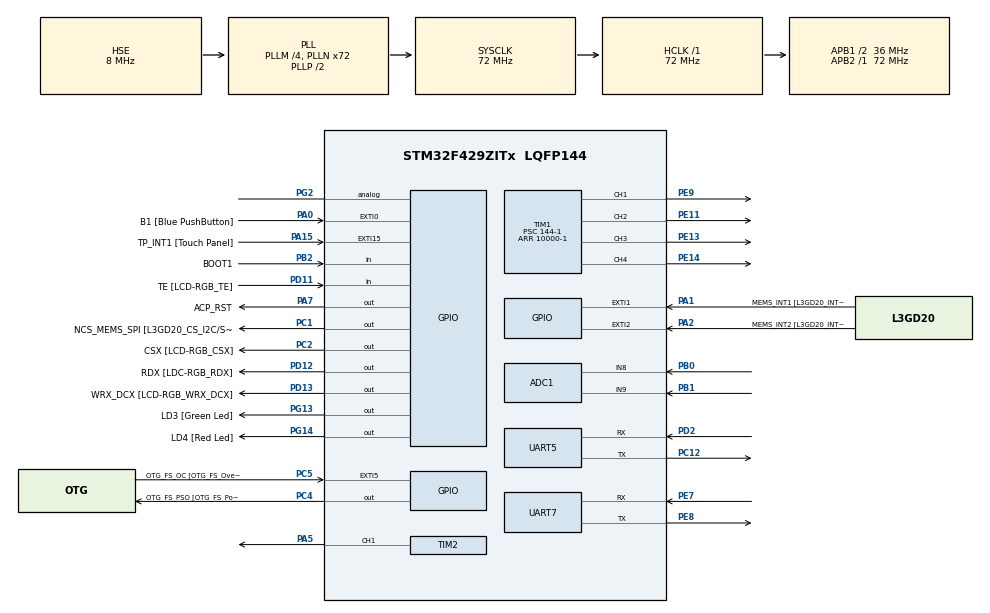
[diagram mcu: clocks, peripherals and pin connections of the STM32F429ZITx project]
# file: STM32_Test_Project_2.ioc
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ADC1.Channel-0\#ChannelRegularConversion=ADC_CHANNEL_8
ADC1.Channel-1\#ChannelRegularConversion=ADC_CHANNEL_9
ADC1.ContinuousConvMode=ENABLE
ADC1.DMAContinuousRequests=ENABLE
ADC1.EOCSelection=ADC_EOC_SEQ_CONV
ADC1.NbrOfConversion=2
ADC1.NbrOfConversionFlag=1
ADC1.Rank-0\#ChannelRegularConversion=1
ADC1.Rank-1\#ChannelRegularConversion=2
ADC1.SamplingTime-0\#ChannelRegularConversion=ADC_SAMPLETIME_144CYCLES
ADC1.SamplingTime-1\#ChannelRegularConversion=ADC_SAMPLETIME_144CYCLES
ADC1.ScanConvMode=ENABLE
ADC1.master=1
Dma.ADC1.0.Direction=DMA_PERIPH_TO_MEMORY
Dma.ADC1.0.FIFOMode=DMA_FIFOMODE_DISABLE
Dma.ADC1.0.Instance=DMA2_Stream0
Dma.ADC1.0.MemDataAlignment=DMA_MDATAALIGN_HALFWORD
Dma.ADC1.0.MemInc=DMA_MINC_ENABLE
Dma.ADC1.0.Mode=DMA_CIRCULAR
Dma.ADC1.0.PeriphDataAlignment=DMA_PDATAALIGN_HALFWORD
Dma.ADC1.0.PeriphInc=DMA_PINC_DISABLE
Dma.ADC1.0.Priority=DMA_PRIORITY_LOW
Dma.Request0=ADC1
Mcu.Family=STM32F4
Mcu.Name=STM32F429ZITx
Mcu.Package=LQFP144
NVIC.DMA2D_IRQn=true\:5\:0\:true\:false\:true\:true\:true\:true
NVIC.DMA2_Stream0_IRQn=true\:0\:0\:false\:false\:true\:false\:true\:true
NVIC.PriorityGroup=NVIC_PRIORITYGROUP_4
NVIC.TIM1_UP_TIM10_IRQn=true\:0\:0\:false\:false\:true\:true\:true\:true
NVIC.TIM2_IRQn=true\:0\:0\:false\:false\:true\:true\:true\:true
NVIC.TIM6_DAC_IRQn=true\:15\:0\:false\:false\:true\:false\:true\:true
NVIC.TimeBase=TIM6_DAC_IRQn
NVIC.TimeBaseIP=TIM6
NVIC.UART5_IRQn=true\:0\:0\:false\:false\:true\:true\:true\:true
NVIC.UART7_IRQn=true\:0\:0\:false\:false\:true\:true\:true\:true
PA0/WKUP.GPIO_Label=B1 [Blue PushButton]
PA0/WKUP.GPIO_ModeDefaultEXTI=GPIO_MODE_EVT_RISING
PA0/WKUP.GPIO_PuPd=GPIO_NOPULL
PA0/WKUP.Signal=GPXTI0
PA1.GPIO_Label=MEMS_INT1 [L3GD20_INT1]
PA1.GPIO_ModeDefaultEXTI=GPIO_MODE_EVT_RISING
PA1.GPIO_PuPd=GPIO_NOPULL
PA1.Signal=GPXTI1
PA10.GPIO_Label=STLINK_TX [STM32F103CBT6_PA2]
PA10.Signal=USART1_RX
PA11.GPIO_Label=R4
PA11.GPIO_Mode=GPIO_MODE_AF_PP
PA11.GPIO_PuPd=GPIO_NOPULL
PA11.GPIO_Speed=GPIO_SPEED_FREQ_LOW
PA11.Signal=LTDC_R4
PA12.GPIO_Label=R5
PA12.GPIO_Mode=GPIO_MODE_AF_PP
PA12.GPIO_PuPd=GPIO_NOPULL
PA12.GPIO_Speed=GPIO_SPEED_FREQ_LOW
PA12.Signal=LTDC_R5
PA13.GPIO_Label=SWDIO
PA13.Mode=Serial_Wire
PA13.Signal=SYS_JTMS-SWDIO
PA14.GPIO_Label=SWCLK
PA14.Mode=Serial_Wire
PA14.Signal=SYS_JTCK-SWCLK
PA15.GPIO_Label=TP_INT1 [Touch Panel]
PA15.GPIO_ModeDefaultEXTI=GPIO_MODE_EVT_RISING
PA15.GPIO_PuPd=GPIO_NOPULL
PA15.Signal=GPXTI15
PA2.GPIO_Label=MEMS_INT2 [L3GD20_INT2]
PA2.GPIO_ModeDefaultEXTI=GPIO_MODE_EVT_RISING
PA2.GPIO_PuPd=GPIO_NOPULL
PA2.Signal=GPXTI2
PA3.GPIO_Label=B5
PA3.GPIO_Mode=GPIO_MODE_AF_PP
PA3.GPIO_PuPd=GPIO_NOPULL
PA3.GPIO_Speed=GPIO_SPEED_FREQ_LOW
PA3.Signal=LTDC_B5
PA4.GPIO_Label=VSYNC
PA4.GPIO_Mode=GPIO_MODE_AF_PP
PA4.GPIO_PuPd=GPIO_NOPULL
PA4.GPIO_Speed=GPIO_SPEED_FREQ_LOW
PA4.Signal=LTDC_VSYNC
PA5.Signal=S_TIM2_CH1_ETR
PA6.GPIO_Label=G2
PA6.GPIO_Mode=GPIO_MODE_AF_PP
PA6.GPIO_PuPd=GPIO_NOPULL
PA6.GPIO_Speed=GPIO_SPEED_FREQ_LOW
PA6.Signal=LTDC_G2
PA7.GPIO_Label=ACP_RST
PA7.GPIO_Mode=GPIO_MODE_OUTPUT_PP
PA7.GPIO_PuPd=GPIO_NOPULL
PA7.GPIO_Speed=GPIO_SPEED_FREQ_LOW
PA7.Signal=GPIO_Output
PA8.GPIO_Label=I2C3_SCL [ACP/RF_SCL]
PA8.GPIO_Mode=GPIO_MODE_AF_OD
PA8.GPIO_Pu=GPIO_PULLUP
PA8.GPIO_PuPd=GPIO_NOPULL
PA8.GPIO_Speed=GPIO_SPEED_FREQ_LOW
PA8.Signal=I2C3_SCL
PA9.GPIO_Label=STLINK_RX [STM32F103CBT6_PA3]
PA9.Signal=USART1_TX
PB0.Signal=ADCx_IN8
PB1.Signal=ADCx_IN9
PB10.GPIO_Label=G4
PB10.GPIO_Mode=GPIO_MODE_AF_PP
PB10.GPIO_PuPd=GPIO_NOPULL
PB10.GPIO_Speed=GPIO_SPEED_FREQ_LOW
PB10.Signal=LTDC_G4
PB11.GPIO_Label=G5
PB11.GPIO_Mode=GPIO_MODE_AF_PP
PB11.GPIO_PuPd=GPIO_NOPULL
PB11.GPIO_Speed=GPIO_SPEED_FREQ_LOW
PB11.Signal=LTDC_G5
PB12.GPIO_Label=OTG_HS_ID
PB12.GPIO_Mode=GPIO_MODE_AF_PP
PB12.GPIO_PuPd=GPIO_NOPULL
PB12.GPIO_Speed=GPIO_SPEED_FREQ_LOW
PB12.Signal=USB_OTG_HS_ID
PB13.GPIO_Label=VBUS_HS
PB13.GPIO_Mode=GPIO_MODE_INPUT
PB13.GPIO_PuPd=GPIO_NOPULL
PB13.Signal=USB_OTG_HS_VBUS
PB14.GPIO_Label=OTG_HS_DM
PB14.GPIO_Mode=GPIO_MODE_AF_PP
PB14.GPIO_PuPd=GPIO_NOPULL
PB14.GPIO_Speed=GPIO_SPEED_FREQ_LOW
PB14.Signal=USB_OTG_HS_DM
PB15.GPIO_Label=OTG_HS_DP
PB15.GPIO_Mode=GPIO_MODE_AF_PP
PB15.GPIO_PuPd=GPIO_NOPULL
PB15.GPIO_Speed=GPIO_SPEED_FREQ_LOW
PB15.Signal=USB_OTG_HS_DP
PB2/BOOT1.GPIO_Label=BOOT1
PB2/BOOT1.GPIO_Mode=GPIO_MODE_INPUT
PB2/BOOT1.GPIO_PuPd=GPIO_NOPULL
PB2/BOOT1.Signal=GPIO_Input
PB5.GPIO_Label=SDCKE1
PB5.GPIO_Mode=GPIO_MODE_AF_PP
PB5.GPIO_PuPd=GPIO_NOPULL
PB5.GPIO_Speed=GPIO_SPEED_FREQ_VERY_HIGH
PB5.Signal=FMC_SDCKE1
PB6.GPIO_Label=SDNE1 [SDRAM_CS]
PB6.GPIO_Mode=GPIO_MODE_AF_PP
PB6.GPIO_PuPd=GPIO_NOPULL
PB6.GPIO_Speed=GPIO_SPEED_FREQ_VERY_HIGH
PB6.Signal=FMC_SDNE1
PB8.GPIO_Label=B6
PB8.GPIO_Mode=GPIO_MODE_AF_PP
PB8.GPIO_PuPd=GPIO_NOPULL
PB8.GPIO_Speed=GPIO_SPEED_FREQ_LOW
PB8.Signal=LTDC_B6
PB9.GPIO_Label=B7
PB9.GPIO_Mode=GPIO_MODE_AF_PP
PB9.GPIO_PuPd=GPIO_NOPULL
PB9.GPIO_Speed=GPIO_SPEED_FREQ_LOW
PB9.Signal=LTDC_B7
PC0.GPIO_Label=SDNWE
PC0.GPIO_Mode=GPIO_MODE_AF_PP
PC0.GPIO_PuPd=GPIO_NOPULL
PC0.GPIO_Speed=GPIO_SPEED_FREQ_VERY_HIGH
PC0.Signal=FMC_SDNWE
PC1.GPIO_Label=NCS_MEMS_SPI [L3GD20_CS_I2C/SPI]
PC1.GPIO_Mode=GPIO_MODE_OUTPUT_PP
PC1.GPIO_PuPd=GPIO_NOPULL
PC1.GPIO_Speed=GPIO_SPEED_FREQ_LOW
PC1.Signal=GPIO_Output
PC10.GPIO_Label=R2
PC10.GPIO_Mode=GPIO_MODE_AF_PP
PC10.GPIO_PuPd=GPIO_NOPULL
PC10.GPIO_Speed=GPIO_SPEED_FREQ_LOW
PC10.Signal=LTDC_R2
PC12.Mode=Asynchronous
PC12.Signal=UART5_TX
PC14/OSC32_IN.GPIO_Label=PC14-OSC32_IN
PC14/OSC32_IN.Signal=RCC_OSC32_IN
PC15/OSC32_OUT.GPIO_Label=PC15-OSC32_OUT
PC15/OSC32_OUT.Signal=RCC_OSC32_OUT
PC2.GPIO_Label=CSX [LCD-RGB_CSX]
PC2.GPIO_Mode=GPIO_MODE_OUTPUT_PP
PC2.GPIO_PuPd=GPIO_NOPULL
PC2.GPIO_Speed=GPIO_SPEED_FREQ_LOW
PC2.Signal=GPIO_Output
PC4.GPIO_Label=OTG_FS_PSO [OTG_FS_PowerSwitchOn]
PC4.GPIO_Mode=GPIO_MODE_OUTPUT_PP
PC4.GPIO_PuPd=GPIO_NOPULL
PC4.GPIO_Speed=GPIO_SPEED_FREQ_LOW
PC4.Signal=GPIO_Output
PC5.GPIO_Label=OTG_FS_OC [OTG_FS_OverCurrent]
PC5.GPIO_ModeDefaultEXTI=GPIO_MODE_EVT_RISING
PC5.Signal=GPXTI5
PC6.GPIO_Label=HSYNC
PC6.GPIO_Mode=GPIO_MODE_AF_PP
PC6.GPIO_PuPd=GPIO_NOPULL
PC6.GPIO_Speed=GPIO_SPEED_FREQ_LOW
PC6.Signal=LTDC_HSYNC
PC7.GPIO_Label=G6
PC7.GPIO_Mode=GPIO_MODE_AF_PP
PC7.GPIO_PuPd=GPIO_NOPULL
PC7.GPIO_Speed=GPIO_SPEED_FREQ_LOW
PC7.Signal=LTDC_G6
PC9.GPIO_Label=I2C3_SDA [ACP/RF_SDA]
PC9.GPIO_Mode=GPIO_MODE_AF_OD
PC9.GPIO_Pu=GPIO_PULLUP
PC9.GPIO_PuPd=GPIO_NOPULL
PC9.GPIO_Speed=GPIO_SPEED_FREQ_LOW
PC9.Signal=I2C3_SDA
PD0.GPIO_Label=D2
PD0.GPIO_Mode=GPIO_MODE_AF_PP
PD0.GPIO_PuPd=GPIO_NOPULL
PD0.GPIO_Speed=GPIO_SPEED_FREQ_VERY_HIGH
PD0.Signal=FMC_D2_DA2
PD1.GPIO_Label=D3
PD1.GPIO_Mode=GPIO_MODE_AF_PP
PD1.GPIO_PuPd=GPIO_NOPULL
PD1.GPIO_Speed=GPIO_SPEED_FREQ_VERY_HIGH
PD1.Signal=FMC_D3_DA3
PD10.GPIO_Label=D15
PD10.GPIO_Mode=GPIO_MODE_AF_PP
PD10.GPIO_PuPd=GPIO_NOPULL
PD10.GPIO_Speed=GPIO_SPEED_FREQ_VERY_HIGH
PD10.Signal=FMC_D15_DA15
PD11.GPIO_Label=TE [LCD-RGB_TE]
PD11.GPIO_Mode=GPIO_MODE_INPUT
PD11.GPIO_PuPd=GPIO_NOPULL
PD11.Signal=GPIO_Input
PD12.GPIO_Label=RDX [LDC-RGB_RDX]
PD12.GPIO_Mode=GPIO_MODE_OUTPUT_PP
PD12.GPIO_PuPd=GPIO_NOPULL
PD12.GPIO_Speed=GPIO_SPEED_FREQ_LOW
PD12.Signal=GPIO_Output
PD13.GPIO_Label=WRX_DCX [LCD-RGB_WRX_DCX]
PD13.GPIO_Mode=GPIO_MODE_OUTPUT_PP
PD13.GPIO_PuPd=GPIO_NOPULL
PD13.GPIO_Speed=GPIO_SPEED_FREQ_LOW
PD13.Signal=GPIO_Output
PD14.GPIO_Label=D0
PD14.GPIO_Mode=GPIO_MODE_AF_PP
PD14.GPIO_PuPd=GPIO_NOPULL
PD14.GPIO_Speed=GPIO_SPEED_FREQ_VERY_HIGH
PD14.Signal=FMC_D0_DA0
PD15.GPIO_Label=D1
PD15.GPIO_Mode=GPIO_MODE_AF_PP
PD15.GPIO_PuPd=GPIO_NOPULL
PD15.GPIO_Speed=GPIO_SPEED_FREQ_VERY_HIGH
PD15.Signal=FMC_D1_DA1
PD2.Mode=Asynchronous
PD2.Signal=UART5_RX
PD3.GPIO_Label=G7
PD3.GPIO_Mode=GPIO_MODE_AF_PP
PD3.GPIO_PuPd=GPIO_NOPULL
PD3.GPIO_Speed=GPIO_SPEED_FREQ_LOW
PD3.Signal=LTDC_G7
PD6.GPIO_Label=B2
PD6.GPIO_Mode=GPIO_MODE_AF_PP
PD6.GPIO_PuPd=GPIO_NOPULL
PD6.GPIO_Speed=GPIO_SPEED_FREQ_LOW
PD6.Signal=LTDC_B2
PD8.GPIO_Label=D13
PD8.GPIO_Mode=GPIO_MODE_AF_PP
PD8.GPIO_PuPd=GPIO_NOPULL
PD8.GPIO_Speed=GPIO_SPEED_FREQ_VERY_HIGH
PD8.Signal=FMC_D13_DA13
PD9.GPIO_Label=D14
PD9.GPIO_Mode=GPIO_MODE_AF_PP
PD9.GPIO_PuPd=GPIO_NOPULL
PD9.GPIO_Speed=GPIO_SPEED_FREQ_VERY_HIGH
PD9.Signal=FMC_D14_DA14
PE0.GPIO_Label=NBL0 [SDRAM_LDQM]
PE0.GPIO_Mode=GPIO_MODE_AF_PP
PE0.GPIO_PuPd=GPIO_NOPULL
PE0.GPIO_Speed=GPIO_SPEED_FREQ_VERY_HIGH
PE0.Signal=FMC_NBL0
PE1.GPIO_Label=NBL1 [SDRAM_UDQM]
PE1.GPIO_Mode=GPIO_MODE_AF_PP
PE1.GPIO_PuPd=GPIO_NOPULL
PE1.GPIO_Speed=GPIO_SPEED_FREQ_VERY_HIGH
PE1.Signal=FMC_NBL1
PE10.GPIO_Label=D7
PE10.GPIO_Mode=GPIO_MODE_AF_PP
PE10.GPIO_PuPd=GPIO_NOPULL
PE10.GPIO_Speed=GPIO_SPEED_FREQ_VERY_HIGH
PE10.Signal=FMC_D7_DA7
PE11.Signal=S_TIM1_CH2
PE12.GPIO_Label=D9
PE12.GPIO_Mode=GPIO_MODE_AF_PP
PE12.GPIO_PuPd=GPIO_NOPULL
PE12.GPIO_Speed=GPIO_SPEED_FREQ_VERY_HIGH
PE12.Signal=FMC_D9_DA9
PE13.Signal=S_TIM1_CH3
PE14.Signal=S_TIM1_CH4
PE15.GPIO_Label=D12
PE15.GPIO_Mode=GPIO_MODE_AF_PP
PE15.GPIO_PuPd=GPIO_NOPULL
PE15.GPIO_Speed=GPIO_SPEED_FREQ_VERY_HIGH
PE15.Signal=FMC_D12_DA12
PE7.Mode=Asynchronous
PE7.Signal=UART7_RX
PE8.Mode=Asynchronous
PE8.Signal=UART7_TX
PE9.Signal=S_TIM1_CH1
PF0.GPIO_Label=A0
PF0.GPIO_Mode=GPIO_MODE_AF_PP
PF0.GPIO_PuPd=GPIO_NOPULL
PF0.GPIO_Speed=GPIO_SPEED_FREQ_VERY_HIGH
PF0.Signal=FMC_A0
PF1.GPIO_Label=A1
PF1.GPIO_Mode=GPIO_MODE_AF_PP
PF1.GPIO_PuPd=GPIO_NOPULL
PF1.GPIO_Speed=GPIO_SPEED_FREQ_VERY_HIGH
PF1.Signal=FMC_A1
PF10.GPIO_Label=ENABLE [LCD-RGB_ENABLE]
PF10.GPIO_Mode=GPIO_MODE_AF_PP
PF10.GPIO_PuPd=GPIO_NOPULL
PF10.GPIO_Speed=GPIO_SPEED_FREQ_LOW
PF10.Signal=LTDC_DE
PF11.GPIO_Label=SDNRAS
PF11.GPIO_Mode=GPIO_MODE_AF_PP
PF11.GPIO_PuPd=GPIO_NOPULL
PF11.GPIO_Speed=GPIO_SPEED_FREQ_VERY_HIGH
PF11.Signal=FMC_SDNRAS
PF12.GPIO_Label=A6
PF12.GPIO_Mode=GPIO_MODE_AF_PP
PF12.GPIO_PuPd=GPIO_NOPULL
PF12.GPIO_Speed=GPIO_SPEED_FREQ_VERY_HIGH
PF12.Signal=FMC_A6
PF13.GPIO_Label=A7
PF13.GPIO_Mode=GPIO_MODE_AF_PP
PF13.GPIO_PuPd=GPIO_NOPULL
PF13.GPIO_Speed=GPIO_SPEED_FREQ_VERY_HIGH
PF13.Signal=FMC_A7
PF14.GPIO_Label=A8
PF14.GPIO_Mode=GPIO_MODE_AF_PP
PF14.GPIO_PuPd=GPIO_NOPULL
PF14.GPIO_Speed=GPIO_SPEED_FREQ_VERY_HIGH
PF14.Signal=FMC_A8
PF15.GPIO_Label=A9
PF15.GPIO_Mode=GPIO_MODE_AF_PP
PF15.GPIO_PuPd=GPIO_NOPULL
PF15.GPIO_Speed=GPIO_SPEED_FREQ_VERY_HIGH
PF15.Signal=FMC_A9
PF2.GPIO_Label=A2
PF2.GPIO_Mode=GPIO_MODE_AF_PP
PF2.GPIO_PuPd=GPIO_NOPULL
PF2.GPIO_Speed=GPIO_SPEED_FREQ_VERY_HIGH
PF2.Signal=FMC_A2
PF3.GPIO_Label=A3
PF3.GPIO_Mode=GPIO_MODE_AF_PP
PF3.GPIO_PuPd=GPIO_NOPULL
PF3.GPIO_Speed=GPIO_SPEED_FREQ_VERY_HIGH
PF3.Signal=FMC_A3
PF4.GPIO_Label=A4
PF4.GPIO_Mode=GPIO_MODE_AF_PP
PF4.GPIO_PuPd=GPIO_NOPULL
PF4.GPIO_Speed=GPIO_SPEED_FREQ_VERY_HIGH
PF4.Signal=FMC_A4
PF5.GPIO_Label=A5
PF5.GPIO_Mode=GPIO_MODE_AF_PP
PF5.GPIO_PuPd=GPIO_NOPULL
PF5.GPIO_Speed=GPIO_SPEED_FREQ_VERY_HIGH
PF5.Signal=FMC_A5
PF7.GPIO_Label=SPI5_SCK [L3GD20_SCL/SPC]
PF7.GPIO_Mode=GPIO_MODE_AF_PP
PF7.GPIO_PuPd=GPIO_NOPULL
PF7.GPIO_Speed=GPIO_SPEED_FREQ_LOW
PF7.Signal=SPI5_SCK
PF8.GPIO_Label=SPI5_MISO [L3GD20_SDO]
PF8.GPIO_Mode=GPIO_MODE_AF_PP
PF8.GPIO_PuPd=GPIO_NOPULL
PF8.GPIO_Speed=GPIO_SPEED_FREQ_LOW
PF8.Signal=SPI5_MISO
PF9.GPIO_Label=SPI5_MOSI [L3GD20_SDA/SDI/SDO]
PF9.GPIO_Mode=GPIO_MODE_AF_PP
PF9.GPIO_PuPd=GPIO_NOPULL
PF9.GPIO_Speed=GPIO_SPEED_FREQ_LOW
PF9.Signal=SPI5_MOSI
PG0.GPIO_Label=A10
PG0.GPIO_Mode=GPIO_MODE_AF_PP
PG0.GPIO_PuPd=GPIO_NOPULL
PG0.GPIO_Speed=GPIO_SPEED_FREQ_VERY_HIGH
PG0.Signal=FMC_A10
PG1.GPIO_Label=A11
PG1.GPIO_Mode=GPIO_MODE_AF_PP
PG1.GPIO_PuPd=GPIO_NOPULL
PG1.GPIO_Speed=GPIO_SPEED_FREQ_VERY_HIGH
PG1.Signal=FMC_A11
PG10.GPIO_Label=G3
PG10.GPIO_Mode=GPIO_MODE_AF_PP
PG10.GPIO_PuPd=GPIO_NOPULL
PG10.GPIO_Speed=GPIO_SPEED_FREQ_LOW
PG10.Signal=LTDC_G3
PG11.GPIO_Label=B3
PG11.GPIO_Mode=GPIO_MODE_AF_PP
PG11.GPIO_PuPd=GPIO_NOPULL
PG11.GPIO_Speed=GPIO_SPEED_FREQ_LOW
PG11.Signal=LTDC_B3
PG12.GPIO_Label=B4
PG12.GPIO_Mode=GPIO_MODE_AF_PP
PG12.GPIO_PuPd=GPIO_NOPULL
PG12.GPIO_Speed=GPIO_SPEED_FREQ_LOW
PG12.Signal=LTDC_B4
PG13.GPIO_Label=LD3 [Green Led]
PG13.GPIO_Mode=GPIO_MODE_OUTPUT_PP
PG13.GPIO_PuPd=GPIO_NOPULL
PG13.GPIO_Speed=GPIO_SPEED_FREQ_LOW
PG13.Signal=GPIO_Output
PG14.GPIO_Label=LD4 [Red Led]
PG14.GPIO_Mode=GPIO_MODE_OUTPUT_PP
PG14.GPIO_PuPd=GPIO_NOPULL
PG14.GPIO_Speed=GPIO_SPEED_FREQ_LOW
PG14.Signal=GPIO_Output
PG15.GPIO_Label=SDNCAS
PG15.GPIO_Mode=GPIO_MODE_AF_PP
PG15.GPIO_PuPd=GPIO_NOPULL
PG15.GPIO_Speed=GPIO_SPEED_FREQ_VERY_HIGH
PG15.Signal=FMC_SDNCAS
PG2.Signal=GPIO_Analog
PG4.GPIO_Label=BA0
PG4.GPIO_Mode=GPIO_MODE_AF_PP
PG4.GPIO_PuPd=GPIO_NOPULL
PG4.GPIO_Speed=GPIO_SPEED_FREQ_VERY_HIGH
PG4.Signal=FMC_A14_BA0
PG5.GPIO_Label=BA1
PG5.GPIO_Mode=GPIO_MODE_AF_PP
PG5.GPIO_PuPd=GPIO_NOPULL
PG5.GPIO_Speed=GPIO_SPEED_FREQ_VERY_HIGH
PG5.Signal=FMC_A15_BA1
PG6.GPIO_Label=R7
PG6.GPIO_Mode=GPIO_MODE_AF_PP
PG6.GPIO_PuPd=GPIO_NOPULL
PG6.GPIO_Speed=GPIO_SPEED_FREQ_LOW
PG6.Signal=LTDC_R7
PG7.GPIO_Label=DOTCLK [LCT-RGB_DOTCLK]
PG7.GPIO_Mode=GPIO_MODE_AF_PP
PG7.GPIO_PuPd=GPIO_NOPULL
PG7.GPIO_Speed=GPIO_SPEED_FREQ_LOW
PG7.Signal=LTDC_CLK
PG8.GPIO_Label=SDCLK
PG8.GPIO_Mode=GPIO_MODE_AF_PP
PG8.GPIO_PuPd=GPIO_NOPULL
PG8.GPIO_Speed=GPIO_SPEED_FREQ_VERY_HIGH
PG8.Signal=FMC_SDCLK
PH0/OSC_IN.GPIO_Label=PH0-OSC_IN
PH0/OSC_IN.Mode=HSE-External-Oscillator
PH0/OSC_IN.Signal=RCC_OSC_IN
PH1/OSC_OUT.GPIO_Label=PH1-OSC_OUT
PH1/OSC_OUT.Mode=HSE-External-Oscillator
PH1/OSC_OUT.Signal=RCC_OSC_OUT
ProjectManager.HeapSize=0x200
ProjectManager.StackSize=0x400
ProjectManager.TargetToolchain=MDK-ARM V5.32
RCC.48MHZClocksFreq_Value=48000000
RCC.AHBFreq_Value=72000000
RCC.APB1CLKDivider=RCC_HCLK_DIV2
RCC.APB1Freq_Value=36000000
RCC.APB1TimFreq_Value=72000000
RCC.APB2Freq_Value=72000000
RCC.APB2TimFreq_Value=72000000
RCC.CortexFreq_Value=72000000
RCC.HCLKFreq_Value=72000000
RCC.HSE_VALUE=8000000
RCC.HSI_VALUE=16000000
RCC.LSE_VALUE=32768
RCC.PLLM=4
RCC.PLLN=72
RCC.PLLQ=3
RCC.PLLSAIN=50
RCC.PLLSourceVirtual=RCC_PLLSOURCE_HSE
RCC.SYSCLKFreq_VALUE=72000000
RCC.SYSCLKSource=RCC_SYSCLKSOURCE_PLLCLK
RCC.VCOOutputFreq_Value=144000000
SH.ADCx_IN8.0=ADC1_IN8,IN8
SH.ADCx_IN9.0=ADC1_IN9,IN9
SH.FMC_A0.0=FMC_A0
SH.FMC_A1.0=FMC_A1
SH.FMC_A10.0=FMC_A10
SH.FMC_A11.0=FMC_A11
SH.FMC_A14_BA0.0=FMC_BA0
SH.FMC_A15_BA1.0=FMC_BA1
SH.FMC_A2.0=FMC_A2
SH.FMC_A3.0=FMC_A3
SH.FMC_A4.0=FMC_A4
SH.FMC_A5.0=FMC_A5
SH.FMC_A6.0=FMC_A6
SH.FMC_A7.0=FMC_A7
SH.FMC_A8.0=FMC_A8
SH.FMC_A9.0=FMC_A9
SH.FMC_D0_DA0.0=FMC_D0
SH.FMC_D12_DA12.0=FMC_D12
SH.FMC_D13_DA13.0=FMC_D13
SH.FMC_D14_DA14.0=FMC_D14
SH.FMC_D15_DA15.0=FMC_D15
SH.FMC_D1_DA1.0=FMC_D1
SH.FMC_D2_DA2.0=FMC_D2
SH.FMC_D3_DA3.0=FMC_D3
SH.FMC_D7_DA7.0=FMC_D7
SH.FMC_D9_DA9.0=FMC_D9
SH.FMC_NBL0.0=FMC_NBL0
SH.FMC_NBL1.0=FMC_NBL1
SH.FMC_SDCLK.0=FMC_SDCLK
SH.FMC_SDNCAS.0=FMC_SDNCAS
SH.FMC_SDNRAS.0=FMC_SDNRAS
SH.FMC_SDNWE.0=FMC_SDNWE
SH.S_TIM1_CH1.0=TIM1_CH1,PWM Generation1 CH1
SH.S_TIM1_CH2.0=TIM1_CH2,PWM Generation2 CH2
SH.S_TIM1_CH3.0=TIM1_CH3,PWM Generation3 CH3
SH.S_TIM1_CH4.0=TIM1_CH4,PWM Generation4 CH4
SH.S_TIM2_CH1_ETR.0=TIM2_CH1,PWM Generation1 CH1
TIM1.Channel-PWM\ Generation1\ CH1=TIM_CHANNEL_1
TIM1.Channel-PWM\ Generation2\ CH2=TIM_CHANNEL_2
TIM1.Channel-PWM\ Generation3\ CH3=TIM_CHANNEL_3
TIM1.Channel-PWM\ Generation4\ CH4=TIM_CHANNEL_4
TIM1.Period=10000-1
TIM1.Prescaler=144-1
TIM2.Channel-PWM\ Generation1\ CH1=TIM_CHANNEL_1
TIM2.Period=10000-1
TIM2.Prescaler=144-1
UART5.VirtualMode=Asynchronous
UART7.VirtualMode=Asynchronous
VP_CRC_VS_CRC.Mode=CRC_Activate
VP_DMA2D_VS_DMA2D.Mode=DMA2D_Activate
VP_SYS_VS_tim6.Mode=TIM6
VP_TIM1_VS_ClockSourceINT.Mode=Internal
VP_TIM2_VS_ClockSourceINT.Mode=Internal
board=STM32F429I-DISC1

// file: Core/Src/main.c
/* USER CODE BEGIN Header */
/**
  ******************************************************************************
  * @file           : main.c
  * @brief          : Main program body
  ******************************************************************************
  * @attention
  *
  * Copyright (c) 2025 STMicroelectronics.
  * All rights reserved.
  *
  * This software is licensed under terms that can be found in the LICENSE file
  * in the root directory of this software component.
  * If no LICENSE file comes with this software, it is provided AS-IS.
  *
  ******************************************************************************
  */
/* USER CODE END Header */
#include "main.h"

/* USER CODE BEGIN Includes */
#include "robotic_arm.h"
/* USER CODE END Includes */

ADC_HandleTypeDef hadc1;
DMA_HandleTypeDef hdma_adc1;

CRC_HandleTypeDef hcrc;

DMA2D_HandleTypeDef hdma2d;

TIM_HandleTypeDef htim1;
TIM_HandleTypeDef htim2;

UART_HandleTypeDef huart5;
UART_HandleTypeDef huart7;

/* USER CODE BEGIN PV */
uint16_t ADC_VALUES[2];
f_sensor_pair* sensors;
uart_port* ui_port;
uart_port* object_port;

/* USER CODE END PV */

void SystemClock_Config(void);
static void MX_GPIO_Init(void);
static void MX_DMA_Init(void);
static void MX_CRC_Init(void);
static void MX_DMA2D_Init(void);
static void MX_TIM1_Init(void);
static void MX_UART5_Init(void);
static void MX_UART7_Init(void);
static void MX_ADC1_Init(void);
static void MX_TIM2_Init(void);

int main(void)
{

  /* MCU Configuration--------------------------------------------------------*/

  /* Reset of all peripherals, Initializes the Flash interface and the Systick. */
  HAL_Init();

  /* Configure the system clock */
  SystemClock_Config();

  /* Initialize all configured peripherals */
  MX_GPIO_Init();
  MX_DMA_Init();
  MX_CRC_Init();
  MX_DMA2D_Init();
  MX_TIM1_Init();
  MX_UART5_Init();
  MX_UART7_Init();
  MX_ADC1_Init();
  MX_TIM2_Init();
  /* USER CODE BEGIN 2 */

	HAL_TIM_PWM_Start(&htim1, TIM_CHANNEL_1);
	HAL_TIM_PWM_Start(&htim1, TIM_CHANNEL_2);
	HAL_TIM_PWM_Start(&htim1, TIM_CHANNEL_3);
	HAL_TIM_PWM_Start(&htim1, TIM_CHANNEL_4);
	HAL_TIM_PWM_Start(&htim2, TIM_CHANNEL_1);

	HAL_ADC_Start_DMA(&hadc1, (uint32_t*) ADC_VALUES, 2);

	ui_port = malloc(sizeof(uart_port));
	object_port = malloc(sizeof(uart_port));

	initUART(&huart5, ui_port);
	initUART(&huart7, object_port);

	sensors = malloc(sizeof(f_sensor_pair));
	sensors->adc = &hadc1;
	sensors->readings[0] = 0;
	sensors->readings[1] = 0;

	HAL_UART_Receive_IT(ui_port->port, ui_port->rx_buffer, 6);
	HAL_UART_Receive_IT(object_port->port, object_port->rx_buffer, 6);

	r_system robot = initSystem(&htim1, &htim2, sensors, ui_port, object_port);

	robot.object_data[0] = 0;
	robot.object_data[1] = 300;
	robot.object_data[2] = 0;

//	HAL_Delay(200);
//
//	//setMotorPosition(robot.base, 135);
//	//moveBase(robot.base, -50, 0);
//	//setMotorPosition(robot.base, -50);
//	//HAL_Delay(1000);
//	//setMotorPosition(robot.base, robot.base->current_angle);

//	setMotorPosition(robot.joints[2], robot.joints[2]->current_angle);
//	HAL_Delay(1000);
//	setMotorPosition(robot.joints[1], robot.joints[1]->current_angle);
//	HAL_Delay(1000);
//	setMotorPosition(robot.joints[0], robot.joints[0]->current_angle);
//	HAL_Delay(1000);
//	HAL_Delay(3000);
//
//	moveGripper(robot.joints, 250, -15);
//	HAL_Delay(2000);
//	moveBase(robot.gripper->motor, 135);
//	HAL_Delay(1000);
//	moveGripper(robot.joints, 300, 100);

//	setMotorPosition(robot.gripper->motor, 240); //240 -> open, 205 -> close
//	closeGripper(robot.gripper);
//	HAL_Delay(2000);
//	openGripper(robot.gripper);

//	setMotorPosition(robot.gripper->motor, 225);
//	moveGripper(robot.joints, 250, -15);
//	moveBase(robot.base, 60);
//	HAL_Delay(5000);
//	setMotorPosition(robot.gripper->motor, 177);
//	HAL_Delay(10000);
//	moveBase(robot.base, -30);
//	moveGripper(robot.joints, 450, 100);

  /* USER CODE END 2 */

  /* Infinite loop */
  while (1)
  {

    /* USER CODE BEGIN 3 */
		HAL_Delay(50);

//		if (ADC_VALUES[0] >= 10+5) {
//			HAL_GPIO_WritePin(GPIOG, GPIO_PIN_13, GPIO_PIN_SET);
//		}
//		else if (ADC_VALUES[0] < 5) {
//			HAL_GPIO_WritePin(GPIOG, GPIO_PIN_13, GPIO_PIN_RESET);
//		}
//		if (ADC_VALUES[1] >= 10+5) {
//			HAL_GPIO_WritePin(GPIOG, GPIO_PIN_14, GPIO_PIN_SET);
//		}
//		else if (ADC_VALUES[1] < 5) {
//			HAL_GPIO_WritePin(GPIOG, GPIO_PIN_14, GPIO_PIN_RESET);
//		}

//		HAL_UART_Transmit_IT(object_port->port, (uint8_t*) 150, 1);

//		if (robot.system_state == return_home) {
//			HAL_GPIO_WritePin(GPIOG, GPIO_PIN_13, 1);
//		}
//		else {
//			HAL_GPIO_WritePin(GPIOG, GPIO_PIN_13, 0);
//		}
//		if (robot.system_state == resting) {
//			HAL_GPIO_WritePin(GPIOG, GPIO_PIN_14, 1);
//		}
//		else {
//			HAL_GPIO_WritePin(GPIOG, GPIO_PIN_14, 0);
//		}
//
		HAL_GPIO_TogglePin(GPIOG, GPIO_PIN_13);
		runState(&robot);
		HAL_GPIO_TogglePin(GPIOG, GPIO_PIN_13);
		HAL_GPIO_TogglePin(GPIOG, GPIO_PIN_14);
		HAL_Delay(100);
		updateState(&robot);
		HAL_GPIO_TogglePin(GPIOG, GPIO_PIN_14);
//
//		if (ui_port->updated == 1) {
//			ui_port->updated = 0;
//			HAL_GPIO_TogglePin(GPIOG, GPIO_PIN_13);
//		}
//
//		if (object_port->updated == 1) {
//			object_port->updated = 0;
//			HAL_GPIO_TogglePin(GPIOG, GPIO_PIN_14);
//		}
  }
  /* USER CODE END 3 */
}

void SystemClock_Config(void)
{
  RCC_OscInitTypeDef RCC_OscInitStruct = {0};
  RCC_ClkInitTypeDef RCC_ClkInitStruct = {0};

  /** Configure the main internal regulator output voltage
  */
  __HAL_RCC_PWR_CLK_ENABLE();
  __HAL_PWR_VOLTAGESCALING_CONFIG(PWR_REGULATOR_VOLTAGE_SCALE3);

  /** Initializes the RCC Oscillators according to the specified parameters
  * in the RCC_OscInitTypeDef structure.
  */
  RCC_OscInitStruct.OscillatorType = RCC_OSCILLATORTYPE_HSE;
  RCC_OscInitStruct.HSEState = RCC_HSE_ON;
  RCC_OscInitStruct.PLL.PLLState = RCC_PLL_ON;
  RCC_OscInitStruct.PLL.PLLSource = RCC_PLLSOURCE_HSE;
  RCC_OscInitStruct.PLL.PLLM = 4;
  RCC_OscInitStruct.PLL.PLLN = 72;
  RCC_OscInitStruct.PLL.PLLP = RCC_PLLP_DIV2;
  RCC_OscInitStruct.PLL.PLLQ = 3;
  if (HAL_RCC_OscConfig(&RCC_OscInitStruct) != HAL_OK)
  {
    Error_Handler();
  }

  /** Initializes the CPU, AHB and APB buses clocks
  */
  RCC_ClkInitStruct.ClockType = RCC_CLOCKTYPE_HCLK|RCC_CLOCKTYPE_SYSCLK
                              |RCC_CLOCKTYPE_PCLK1|RCC_CLOCKTYPE_PCLK2;
  RCC_ClkInitStruct.SYSCLKSource = RCC_SYSCLKSOURCE_PLLCLK;
  RCC_ClkInitStruct.AHBCLKDivider = RCC_SYSCLK_DIV1;
  RCC_ClkInitStruct.APB1CLKDivider = RCC_HCLK_DIV2;
  RCC_ClkInitStruct.APB2CLKDivider = RCC_HCLK_DIV1;

  if (HAL_RCC_ClockConfig(&RCC_ClkInitStruct, FLASH_LATENCY_2) != HAL_OK)
  {
    Error_Handler();
  }
}

static void MX_ADC1_Init(void)
{

  ADC_ChannelConfTypeDef sConfig = {0};

  /** Configure the global features of the ADC (Clock, Resolution, Data Alignment and number of conversion)
  */
  hadc1.Instance = ADC1;
  hadc1.Init.ClockPrescaler = ADC_CLOCK_SYNC_PCLK_DIV2;
  hadc1.Init.Resolution = ADC_RESOLUTION_12B;
  hadc1.Init.ScanConvMode = ENABLE;
  hadc1.Init.ContinuousConvMode = ENABLE;
  hadc1.Init.DiscontinuousConvMode = DISABLE;
  hadc1.Init.ExternalTrigConvEdge = ADC_EXTERNALTRIGCONVEDGE_NONE;
  hadc1.Init.ExternalTrigConv = ADC_SOFTWARE_START;
  hadc1.Init.DataAlign = ADC_DATAALIGN_RIGHT;
  hadc1.Init.NbrOfConversion = 2;
  hadc1.Init.DMAContinuousRequests = ENABLE;
  hadc1.Init.EOCSelection = ADC_EOC_SEQ_CONV;
  if (HAL_ADC_Init(&hadc1) != HAL_OK)
  {
    Error_Handler();
  }

  /** Configure for the selected ADC regular channel its corresponding rank in the sequencer and its sample time.
  */
  sConfig.Channel = ADC_CHANNEL_8;
  sConfig.Rank = 1;
  sConfig.SamplingTime = ADC_SAMPLETIME_144CYCLES;
  if (HAL_ADC_ConfigChannel(&hadc1, &sConfig) != HAL_OK)
  {
    Error_Handler();
  }

  /** Configure for the selected ADC regular channel its corresponding rank in the sequencer and its sample time.
  */
  sConfig.Channel = ADC_CHANNEL_9;
  sConfig.Rank = 2;
  if (HAL_ADC_ConfigChannel(&hadc1, &sConfig) != HAL_OK)
  {
    Error_Handler();
  }

}

static void MX_CRC_Init(void)
{

  hcrc.Instance = CRC;
  if (HAL_CRC_Init(&hcrc) != HAL_OK)
  {
    Error_Handler();
  }

}

static void MX_DMA2D_Init(void)
{

  hdma2d.Instance = DMA2D;
  hdma2d.Init.Mode = DMA2D_M2M;
  hdma2d.Init.ColorMode = DMA2D_OUTPUT_ARGB8888;
  hdma2d.Init.OutputOffset = 0;
  hdma2d.LayerCfg[1].InputOffset = 0;
  hdma2d.LayerCfg[1].InputColorMode = DMA2D_INPUT_ARGB8888;
  hdma2d.LayerCfg[1].AlphaMode = DMA2D_NO_MODIF_ALPHA;
  hdma2d.LayerCfg[1].InputAlpha = 0;
  if (HAL_DMA2D_Init(&hdma2d) != HAL_OK)
  {
    Error_Handler();
  }
  if (HAL_DMA2D_ConfigLayer(&hdma2d, 1) != HAL_OK)
  {
    Error_Handler();
  }

}

static void MX_TIM1_Init(void)
{

  TIM_ClockConfigTypeDef sClockSourceConfig = {0};
  TIM_MasterConfigTypeDef sMasterConfig = {0};
  TIM_OC_InitTypeDef sConfigOC = {0};
  TIM_BreakDeadTimeConfigTypeDef sBreakDeadTimeConfig = {0};

  htim1.Instance = TIM1;
  htim1.Init.Prescaler = 144-1;
  htim1.Init.CounterMode = TIM_COUNTERMODE_UP;
  htim1.Init.Period = 10000-1;
  htim1.Init.ClockDivision = TIM_CLOCKDIVISION_DIV1;
  htim1.Init.RepetitionCounter = 0;
  htim1.Init.AutoReloadPreload = TIM_AUTORELOAD_PRELOAD_DISABLE;
  if (HAL_TIM_Base_Init(&htim1) != HAL_OK)
  {
    Error_Handler();
  }
  sClockSourceConfig.ClockSource = TIM_CLOCKSOURCE_INTERNAL;
  if (HAL_TIM_ConfigClockSource(&htim1, &sClockSourceConfig) != HAL_OK)
  {
    Error_Handler();
  }
  if (HAL_TIM_PWM_Init(&htim1) != HAL_OK)
  {
    Error_Handler();
  }
  sMasterConfig.MasterOutputTrigger = TIM_TRGO_RESET;
  sMasterConfig.MasterSlaveMode = TIM_MASTERSLAVEMODE_DISABLE;
  if (HAL_TIMEx_MasterConfigSynchronization(&htim1, &sMasterConfig) != HAL_OK)
  {
    Error_Handler();
  }
  sConfigOC.OCMode = TIM_OCMODE_PWM1;
  sConfigOC.Pulse = 0;
  sConfigOC.OCPolarity = TIM_OCPOLARITY_HIGH;
  sConfigOC.OCNPolarity = TIM_OCNPOLARITY_HIGH;
  sConfigOC.OCFastMode = TIM_OCFAST_DISABLE;
  sConfigOC.OCIdleState = TIM_OCIDLESTATE_RESET;
  sConfigOC.OCNIdleState = TIM_OCNIDLESTATE_RESET;
  if (HAL_TIM_PWM_ConfigChannel(&htim1, &sConfigOC, TIM_CHANNEL_1) != HAL_OK)
  {
    Error_Handler();
  }
  if (HAL_TIM_PWM_ConfigChannel(&htim1, &sConfigOC, TIM_CHANNEL_2) != HAL_OK)
  {
    Error_Handler();
  }
  if (HAL_TIM_PWM_ConfigChannel(&htim1, &sConfigOC, TIM_CHANNEL_3) != HAL_OK)
  {
    Error_Handler();
  }
  if (HAL_TIM_PWM_ConfigChannel(&htim1, &sConfigOC, TIM_CHANNEL_4) != HAL_OK)
  {
    Error_Handler();
  }
  sBreakDeadTimeConfig.OffStateRunMode = TIM_OSSR_DISABLE;
  sBreakDeadTimeConfig.OffStateIDLEMode = TIM_OSSI_DISABLE;
  sBreakDeadTimeConfig.LockLevel = TIM_LOCKLEVEL_OFF;
  sBreakDeadTimeConfig.DeadTime = 0;
  sBreakDeadTimeConfig.BreakState = TIM_BREAK_DISABLE;
  sBreakDeadTimeConfig.BreakPolarity = TIM_BREAKPOLARITY_HIGH;
  sBreakDeadTimeConfig.AutomaticOutput = TIM_AUTOMATICOUTPUT_DISABLE;
  if (HAL_TIMEx_ConfigBreakDeadTime(&htim1, &sBreakDeadTimeConfig) != HAL_OK)
  {
    Error_Handler();
  }
  HAL_TIM_MspPostInit(&htim1);

}

static void MX_TIM2_Init(void)
{

  TIM_ClockConfigTypeDef sClockSourceConfig = {0};
  TIM_MasterConfigTypeDef sMasterConfig = {0};
  TIM_OC_InitTypeDef sConfigOC = {0};

  htim2.Instance = TIM2;
  htim2.Init.Prescaler = 144-1;
  htim2.Init.CounterMode = TIM_COUNTERMODE_UP;
  htim2.Init.Period = 10000-1;
  htim2.Init.ClockDivision = TIM_CLOCKDIVISION_DIV1;
  htim2.Init.AutoReloadPreload = TIM_AUTORELOAD_PRELOAD_DISABLE;
  if (HAL_TIM_Base_Init(&htim2) != HAL_OK)
  {
    Error_Handler();
  }
  sClockSourceConfig.ClockSource = TIM_CLOCKSOURCE_INTERNAL;
  if (HAL_TIM_ConfigClockSource(&htim2, &sClockSourceConfig) != HAL_OK)
  {
    Error_Handler();
  }
  if (HAL_TIM_PWM_Init(&htim2) != HAL_OK)
  {
    Error_Handler();
  }
  sMasterConfig.MasterOutputTrigger = TIM_TRGO_RESET;
  sMasterConfig.MasterSlaveMode = TIM_MASTERSLAVEMODE_DISABLE;
  if (HAL_TIMEx_MasterConfigSynchronization(&htim2, &sMasterConfig) != HAL_OK)
  {
    Error_Handler();
  }
  sConfigOC.OCMode = TIM_OCMODE_PWM1;
  sConfigOC.Pulse = 0;
  sConfigOC.OCPolarity = TIM_OCPOLARITY_HIGH;
  sConfigOC.OCFastMode = TIM_OCFAST_DISABLE;
  if (HAL_TIM_PWM_ConfigChannel(&htim2, &sConfigOC, TIM_CHANNEL_1) != HAL_OK)
  {
    Error_Handler();
  }
  HAL_TIM_MspPostInit(&htim2);

}

static void MX_UART5_Init(void)
{

  huart5.Instance = UART5;
  huart5.Init.BaudRate = 115200;
  huart5.Init.WordLength = UART_WORDLENGTH_8B;
  huart5.Init.StopBits = UART_STOPBITS_1;
  huart5.Init.Parity = UART_PARITY_NONE;
  huart5.Init.Mode = UART_MODE_TX_RX;
  huart5.Init.HwFlowCtl = UART_HWCONTROL_NONE;
  huart5.Init.OverSampling = UART_OVERSAMPLING_16;
  if (HAL_UART_Init(&huart5) != HAL_OK)
  {
    Error_Handler();
  }

}

static void MX_UART7_Init(void)
{

  huart7.Instance = UART7;
  huart7.Init.BaudRate = 115200;
  huart7.Init.WordLength = UART_WORDLENGTH_8B;
  huart7.Init.StopBits = UART_STOPBITS_1;
  huart7.Init.Parity = UART_PARITY_NONE;
  huart7.Init.Mode = UART_MODE_TX_RX;
  huart7.Init.HwFlowCtl = UART_HWCONTROL_NONE;
  huart7.Init.OverSampling = UART_OVERSAMPLING_16;
  if (HAL_UART_Init(&huart7) != HAL_OK)
  {
    Error_Handler();
  }

}

static void MX_DMA_Init(void)
{

  /* DMA controller clock enable */
  __HAL_RCC_DMA2_CLK_ENABLE();

  /* DMA interrupt init */
  /* DMA2_Stream0_IRQn interrupt configuration */
  HAL_NVIC_SetPriority(DMA2_Stream0_IRQn, 0, 0);
  HAL_NVIC_EnableIRQ(DMA2_Stream0_IRQn);

}

static void MX_GPIO_Init(void)
{
  GPIO_InitTypeDef GPIO_InitStruct = {0};

  /* GPIO Ports Clock Enable */
  __HAL_RCC_GPIOC_CLK_ENABLE();
  __HAL_RCC_GPIOF_CLK_ENABLE();
  __HAL_RCC_GPIOH_CLK_ENABLE();
  __HAL_RCC_GPIOA_CLK_ENABLE();
  __HAL_RCC_GPIOB_CLK_ENABLE();
  __HAL_RCC_GPIOG_CLK_ENABLE();
  __HAL_RCC_GPIOE_CLK_ENABLE();
  __HAL_RCC_GPIOD_CLK_ENABLE();

  /*Configure GPIO pin Output Level */
  HAL_GPIO_WritePin(GPIOC, NCS_MEMS_SPI_Pin|CSX_Pin|OTG_FS_PSO_Pin, GPIO_PIN_RESET);

  /*Configure GPIO pin Output Level */
  HAL_GPIO_WritePin(ACP_RST_GPIO_Port, ACP_RST_Pin, GPIO_PIN_RESET);

  /*Configure GPIO pin Output Level */
  HAL_GPIO_WritePin(GPIOD, RDX_Pin|WRX_DCX_Pin, GPIO_PIN_RESET);

  /*Configure GPIO pin Output Level */
  HAL_GPIO_WritePin(GPIOG, LD3_Pin|LD4_Pin, GPIO_PIN_RESET);

  /*Configure GPIO pins : A0_Pin A1_Pin A2_Pin A3_Pin
                           A4_Pin A5_Pin SDNRAS_Pin A6_Pin
                           A7_Pin A8_Pin A9_Pin */
  GPIO_InitStruct.Pin = A0_Pin|A1_Pin|A2_Pin|A3_Pin
                          |A4_Pin|A5_Pin|SDNRAS_Pin|A6_Pin
                          |A7_Pin|A8_Pin|A9_Pin;
  GPIO_InitStruct.Mode = GPIO_MODE_AF_PP;
  GPIO_InitStruct.Pull = GPIO_NOPULL;
  GPIO_InitStruct.Speed = GPIO_SPEED_FREQ_VERY_HIGH;
  GPIO_InitStruct.Alternate = GPIO_AF12_FMC;
  HAL_GPIO_Init(GPIOF, &GPIO_InitStruct);

  /*Configure GPIO pins : SPI5_SCK_Pin SPI5_MISO_Pin SPI5_MOSI_Pin */
  GPIO_InitStruct.Pin = SPI5_SCK_Pin|SPI5_MISO_Pin|SPI5_MOSI_Pin;
  GPIO_InitStruct.Mode = GPIO_MODE_AF_PP;
  GPIO_InitStruct.Pull = GPIO_NOPULL;
  GPIO_InitStruct.Speed = GPIO_SPEED_FREQ_LOW;
  GPIO_InitStruct.Alternate = GPIO_AF5_SPI5;
  HAL_GPIO_Init(GPIOF, &GPIO_InitStruct);

  /*Configure GPIO pin : ENABLE_Pin */
  GPIO_InitStruct.Pin = ENABLE_Pin;
  GPIO_InitStruct.Mode = GPIO_MODE_AF_PP;
  GPIO_InitStruct.Pull = GPIO_NOPULL;
  GPIO_InitStruct.Speed = GPIO_SPEED_FREQ_LOW;
  GPIO_InitStruct.Alternate = GPIO_AF14_LTDC;
  HAL_GPIO_Init(ENABLE_GPIO_Port, &GPIO_InitStruct);

  /*Configure GPIO pin : SDNWE_Pin */
  GPIO_InitStruct.Pin = SDNWE_Pin;
  GPIO_InitStruct.Mode = GPIO_MODE_AF_PP;
  GPIO_InitStruct.Pull = GPIO_NOPULL;
  GPIO_InitStruct.Speed = GPIO_SPEED_FREQ_VERY_HIGH;
  GPIO_InitStruct.Alternate = GPIO_AF12_FMC;
  HAL_GPIO_Init(SDNWE_GPIO_Port, &GPIO_InitStruct);

  /*Configure GPIO pins : NCS_MEMS_SPI_Pin CSX_Pin OTG_FS_PSO_Pin */
  GPIO_InitStruct.Pin = NCS_MEMS_SPI_Pin|CSX_Pin|OTG_FS_PSO_Pin;
  GPIO_InitStruct.Mode = GPIO_MODE_OUTPUT_PP;
  GPIO_InitStruct.Pull = GPIO_NOPULL;
  GPIO_InitStruct.Speed = GPIO_SPEED_FREQ_LOW;
  HAL_GPIO_Init(GPIOC, &GPIO_InitStruct);

  /*Configure GPIO pins : B1_Pin MEMS_INT1_Pin MEMS_INT2_Pin TP_INT1_Pin */
  GPIO_InitStruct.Pin = B1_Pin|MEMS_INT1_Pin|MEMS_INT2_Pin|TP_INT1_Pin;
  GPIO_InitStruct.Mode = GPIO_MODE_EVT_RISING;
  GPIO_InitStruct.Pull = GPIO_NOPULL;
  HAL_GPIO_Init(GPIOA, &GPIO_InitStruct);

  /*Configure GPIO pins : B5_Pin VSYNC_Pin G2_Pin R4_Pin
                           R5_Pin */
  GPIO_InitStruct.Pin = B5_Pin|VSYNC_Pin|G2_Pin|R4_Pin
                          |R5_Pin;
  GPIO_InitStruct.Mode = GPIO_MODE_AF_PP;
  GPIO_InitStruct.Pull = GPIO_NOPULL;
  GPIO_InitStruct.Speed = GPIO_SPEED_FREQ_LOW;
  GPIO_InitStruct.Alternate = GPIO_AF14_LTDC;
  HAL_GPIO_Init(GPIOA, &GPIO_InitStruct);

  /*Configure GPIO pin : ACP_RST_Pin */
  GPIO_InitStruct.Pin = ACP_RST_Pin;
  GPIO_InitStruct.Mode = GPIO_MODE_OUTPUT_PP;
  GPIO_InitStruct.Pull = GPIO_NOPULL;
  GPIO_InitStruct.Speed = GPIO_SPEED_FREQ_LOW;
  HAL_GPIO_Init(ACP_RST_GPIO_Port, &GPIO_InitStruct);

  /*Configure GPIO pin : OTG_FS_OC_Pin */
  GPIO_InitStruct.Pin = OTG_FS_OC_Pin;
  GPIO_InitStruct.Mode = GPIO_MODE_EVT_RISING;
  GPIO_InitStruct.Pull = GPIO_NOPULL;
  HAL_GPIO_Init(OTG_FS_OC_GPIO_Port, &GPIO_InitStruct);

  /*Configure GPIO pin : BOOT1_Pin */
  GPIO_InitStruct.Pin = BOOT1_Pin;
  GPIO_InitStruct.Mode = GPIO_MODE_INPUT;
  GPIO_InitStruct.Pull = GPIO_NOPULL;
  HAL_GPIO_Init(BOOT1_GPIO_Port, &GPIO_InitStruct);

  /*Configure GPIO pins : A10_Pin A11_Pin BA0_Pin BA1_Pin
                           SDCLK_Pin SDNCAS_Pin */
  GPIO_InitStruct.Pin = A10_Pin|A11_Pin|BA0_Pin|BA1_Pin
                          |SDCLK_Pin|SDNCAS_Pin;
  GPIO_InitStruct.Mode = GPIO_MODE_AF_PP;
  GPIO_InitStruct.Pull = GPIO_NOPULL;
  GPIO_InitStruct.Speed = GPIO_SPEED_FREQ_VERY_HIGH;
  GPIO_InitStruct.Alternate = GPIO_AF12_FMC;
  HAL_GPIO_Init(GPIOG, &GPIO_InitStruct);

  /*Configure GPIO pins : D7_Pin D9_Pin D12_Pin NBL0_Pin
                           NBL1_Pin */
  GPIO_InitStruct.Pin = D7_Pin|D9_Pin|D12_Pin|NBL0_Pin
                          |NBL1_Pin;
  GPIO_InitStruct.Mode = GPIO_MODE_AF_PP;
  GPIO_InitStruct.Pull = GPIO_NOPULL;
  GPIO_InitStruct.Speed = GPIO_SPEED_FREQ_VERY_HIGH;
  GPIO_InitStruct.Alternate = GPIO_AF12_FMC;
  HAL_GPIO_Init(GPIOE, &GPIO_InitStruct);

  /*Configure GPIO pins : G4_Pin G5_Pin B6_Pin B7_Pin */
  GPIO_InitStruct.Pin = G4_Pin|G5_Pin|B6_Pin|B7_Pin;
  GPIO_InitStruct.Mode = GPIO_MODE_AF_PP;
  GPIO_InitStruct.Pull = GPIO_NOPULL;
  GPIO_InitStruct.Speed = GPIO_SPEED_FREQ_LOW;
  GPIO_InitStruct.Alternate = GPIO_AF14_LTDC;
  HAL_GPIO_Init(GPIOB, &GPIO_InitStruct);

  /*Configure GPIO pins : OTG_HS_ID_Pin OTG_HS_DM_Pin OTG_HS_DP_Pin */
  GPIO_InitStruct.Pin = OTG_HS_ID_Pin|OTG_HS_DM_Pin|OTG_HS_DP_Pin;
  GPIO_InitStruct.Mode = GPIO_MODE_AF_PP;
  GPIO_InitStruct.Pull = GPIO_NOPULL;
  GPIO_InitStruct.Speed = GPIO_SPEED_FREQ_LOW;
  GPIO_InitStruct.Alternate = GPIO_AF12_OTG_HS_FS;
  HAL_GPIO_Init(GPIOB, &GPIO_InitStruct);

  /*Configure GPIO pin : VBUS_HS_Pin */
  GPIO_InitStruct.Pin = VBUS_HS_Pin;
  GPIO_InitStruct.Mode = GPIO_MODE_INPUT;
  GPIO_InitStruct.Pull = GPIO_NOPULL;
  HAL_GPIO_Init(VBUS_HS_GPIO_Port, &GPIO_InitStruct);

  /*Configure GPIO pins : D13_Pin D14_Pin D15_Pin D0_Pin
                           D1_Pin D2_Pin D3_Pin */
  GPIO_InitStruct.Pin = D13_Pin|D14_Pin|D15_Pin|D0_Pin
                          |D1_Pin|D2_Pin|D3_Pin;
  GPIO_InitStruct.Mode = GPIO_MODE_AF_PP;
  GPIO_InitStruct.Pull = GPIO_NOPULL;
  GPIO_InitStruct.Speed = GPIO_SPEED_FREQ_VERY_HIGH;
  GPIO_InitStruct.Alternate = GPIO_AF12_FMC;
  HAL_GPIO_Init(GPIOD, &GPIO_InitStruct);

  /*Configure GPIO pin : TE_Pin */
  GPIO_InitStruct.Pin = TE_Pin;
  GPIO_InitStruct.Mode = GPIO_MODE_INPUT;
  GPIO_InitStruct.Pull = GPIO_NOPULL;
  HAL_GPIO_Init(TE_GPIO_Port, &GPIO_InitStruct);

  /*Configure GPIO pins : RDX_Pin WRX_DCX_Pin */
  GPIO_InitStruct.Pin = RDX_Pin|WRX_DCX_Pin;
  GPIO_InitStruct.Mode = GPIO_MODE_OUTPUT_PP;
  GPIO_InitStruct.Pull = GPIO_NOPULL;
  GPIO_InitStruct.Speed = GPIO_SPEED_FREQ_LOW;
  HAL_GPIO_Init(GPIOD, &GPIO_InitStruct);

  /*Configure GPIO pin : PG2 */
  GPIO_InitStruct.Pin = GPIO_PIN_2;
  GPIO_InitStruct.Mode = GPIO_MODE_ANALOG;
  GPIO_InitStruct.Pull = GPIO_NOPULL;
  HAL_GPIO_Init(GPIOG, &GPIO_InitStruct);

  /*Configure GPIO pins : R7_Pin DOTCLK_Pin B3_Pin */
  GPIO_InitStruct.Pin = R7_Pin|DOTCLK_Pin|B3_Pin;
  GPIO_InitStruct.Mode = GPIO_MODE_AF_PP;
  GPIO_InitStruct.Pull = GPIO_NOPULL;
  GPIO_InitStruct.Speed = GPIO_SPEED_FREQ_LOW;
  GPIO_InitStruct.Alternate = GPIO_AF14_LTDC;
  HAL_GPIO_Init(GPIOG, &GPIO_InitStruct);

  /*Configure GPIO pins : HSYNC_Pin G6_Pin R2_Pin */
  GPIO_InitStruct.Pin = HSYNC_Pin|G6_Pin|R2_Pin;
  GPIO_InitStruct.Mode = GPIO_MODE_AF_PP;
  GPIO_InitStruct.Pull = GPIO_NOPULL;
  GPIO_InitStruct.Speed = GPIO_SPEED_FREQ_LOW;
  GPIO_InitStruct.Alternate = GPIO_AF14_LTDC;
  HAL_GPIO_Init(GPIOC, &GPIO_InitStruct);

  /*Configure GPIO pin : I2C3_SDA_Pin */
  GPIO_InitStruct.Pin = I2C3_SDA_Pin;
  GPIO_InitStruct.Mode = GPIO_MODE_AF_OD;
  GPIO_InitStruct.Pull = GPIO_PULLUP;
  GPIO_InitStruct.Speed = GPIO_SPEED_FREQ_LOW;
  GPIO_InitStruct.Alternate = GPIO_AF4_I2C3;
  HAL_GPIO_Init(I2C3_SDA_GPIO_Port, &GPIO_InitStruct);

  /*Configure GPIO pin : I2C3_SCL_Pin */
  GPIO_InitStruct.Pin = I2C3_SCL_Pin;
  GPIO_InitStruct.Mode = GPIO_MODE_AF_OD;
  GPIO_InitStruct.Pull = GPIO_PULLUP;
  GPIO_InitStruct.Speed = GPIO_SPEED_FREQ_LOW;
  GPIO_InitStruct.Alternate = GPIO_AF4_I2C3;
  HAL_GPIO_Init(I2C3_SCL_GPIO_Port, &GPIO_InitStruct);

  /*Configure GPIO pins : STLINK_RX_Pin STLINK_TX_Pin */
  GPIO_InitStruct.Pin = STLINK_RX_Pin|STLINK_TX_Pin;
  GPIO_InitStruct.Mode = GPIO_MODE_AF_PP;
  GPIO_InitStruct.Pull = GPIO_NOPULL;
  GPIO_InitStruct.Speed = GPIO_SPEED_FREQ_VERY_HIGH;
  GPIO_InitStruct.Alternate = GPIO_AF7_USART1;
  HAL_GPIO_Init(GPIOA, &GPIO_InitStruct);

  /*Configure GPIO pins : G7_Pin B2_Pin */
  GPIO_InitStruct.Pin = G7_Pin|B2_Pin;
  GPIO_InitStruct.Mode = GPIO_MODE_AF_PP;
  GPIO_InitStruct.Pull = GPIO_NOPULL;
  GPIO_InitStruct.Speed = GPIO_SPEED_FREQ_LOW;
  GPIO_InitStruct.Alternate = GPIO_AF14_LTDC;
  HAL_GPIO_Init(GPIOD, &GPIO_InitStruct);

  /*Configure GPIO pins : G3_Pin B4_Pin */
  GPIO_InitStruct.Pin = G3_Pin|B4_Pin;
  GPIO_InitStruct.Mode = GPIO_MODE_AF_PP;
  GPIO_InitStruct.Pull = GPIO_NOPULL;
  GPIO_InitStruct.Speed = GPIO_SPEED_FREQ_LOW;
  GPIO_InitStruct.Alternate = GPIO_AF9_LTDC;
  HAL_GPIO_Init(GPIOG, &GPIO_InitStruct);

  /*Configure GPIO pins : LD3_Pin LD4_Pin */
  GPIO_InitStruct.Pin = LD3_Pin|LD4_Pin;
  GPIO_InitStruct.Mode = GPIO_MODE_OUTPUT_PP;
  GPIO_InitStruct.Pull = GPIO_NOPULL;
  GPIO_InitStruct.Speed = GPIO_SPEED_FREQ_LOW;
  HAL_GPIO_Init(GPIOG, &GPIO_InitStruct);

  /*Configure GPIO pins : SDCKE1_Pin SDNE1_Pin */
  GPIO_InitStruct.Pin = SDCKE1_Pin|SDNE1_Pin;
  GPIO_InitStruct.Mode = GPIO_MODE_AF_PP;
  GPIO_InitStruct.Pull = GPIO_NOPULL;
  GPIO_InitStruct.Speed = GPIO_SPEED_FREQ_VERY_HIGH;
  GPIO_InitStruct.Alternate = GPIO_AF12_FMC;
  HAL_GPIO_Init(GPIOB, &GPIO_InitStruct);

}

/* USER CODE BEGIN 4 */
void HAL_UART_RxCpltCallback(UART_HandleTypeDef *huart)
{
  if (huart->Instance == UART5) {
		ui_port->updated = 1;
		HAL_UART_Receive_IT(ui_port->port, ui_port->rx_buffer, 6);
	}
	else if (huart->Instance == UART7) {
		object_port->updated = 1;
		HAL_UART_Receive_IT(object_port->port, object_port->rx_buffer, 6);
	}
}

void HAL_ADC_ConvCpltCallback(ADC_HandleTypeDef *hadc)
{
  // Write ADC data to gripper force sensor buffers
	sensors->readings[0] = ADC_VALUES[0];
	sensors->readings[1] = ADC_VALUES[1];

}
/* USER CODE END 4 */

void HAL_TIM_PeriodElapsedCallback(TIM_HandleTypeDef *htim)
{
  if (htim->Instance == TIM6) {
    HAL_IncTick();
  }
}

void Error_Handler(void)
{
  __disable_irq();
  while (1)
  {
  }
}
